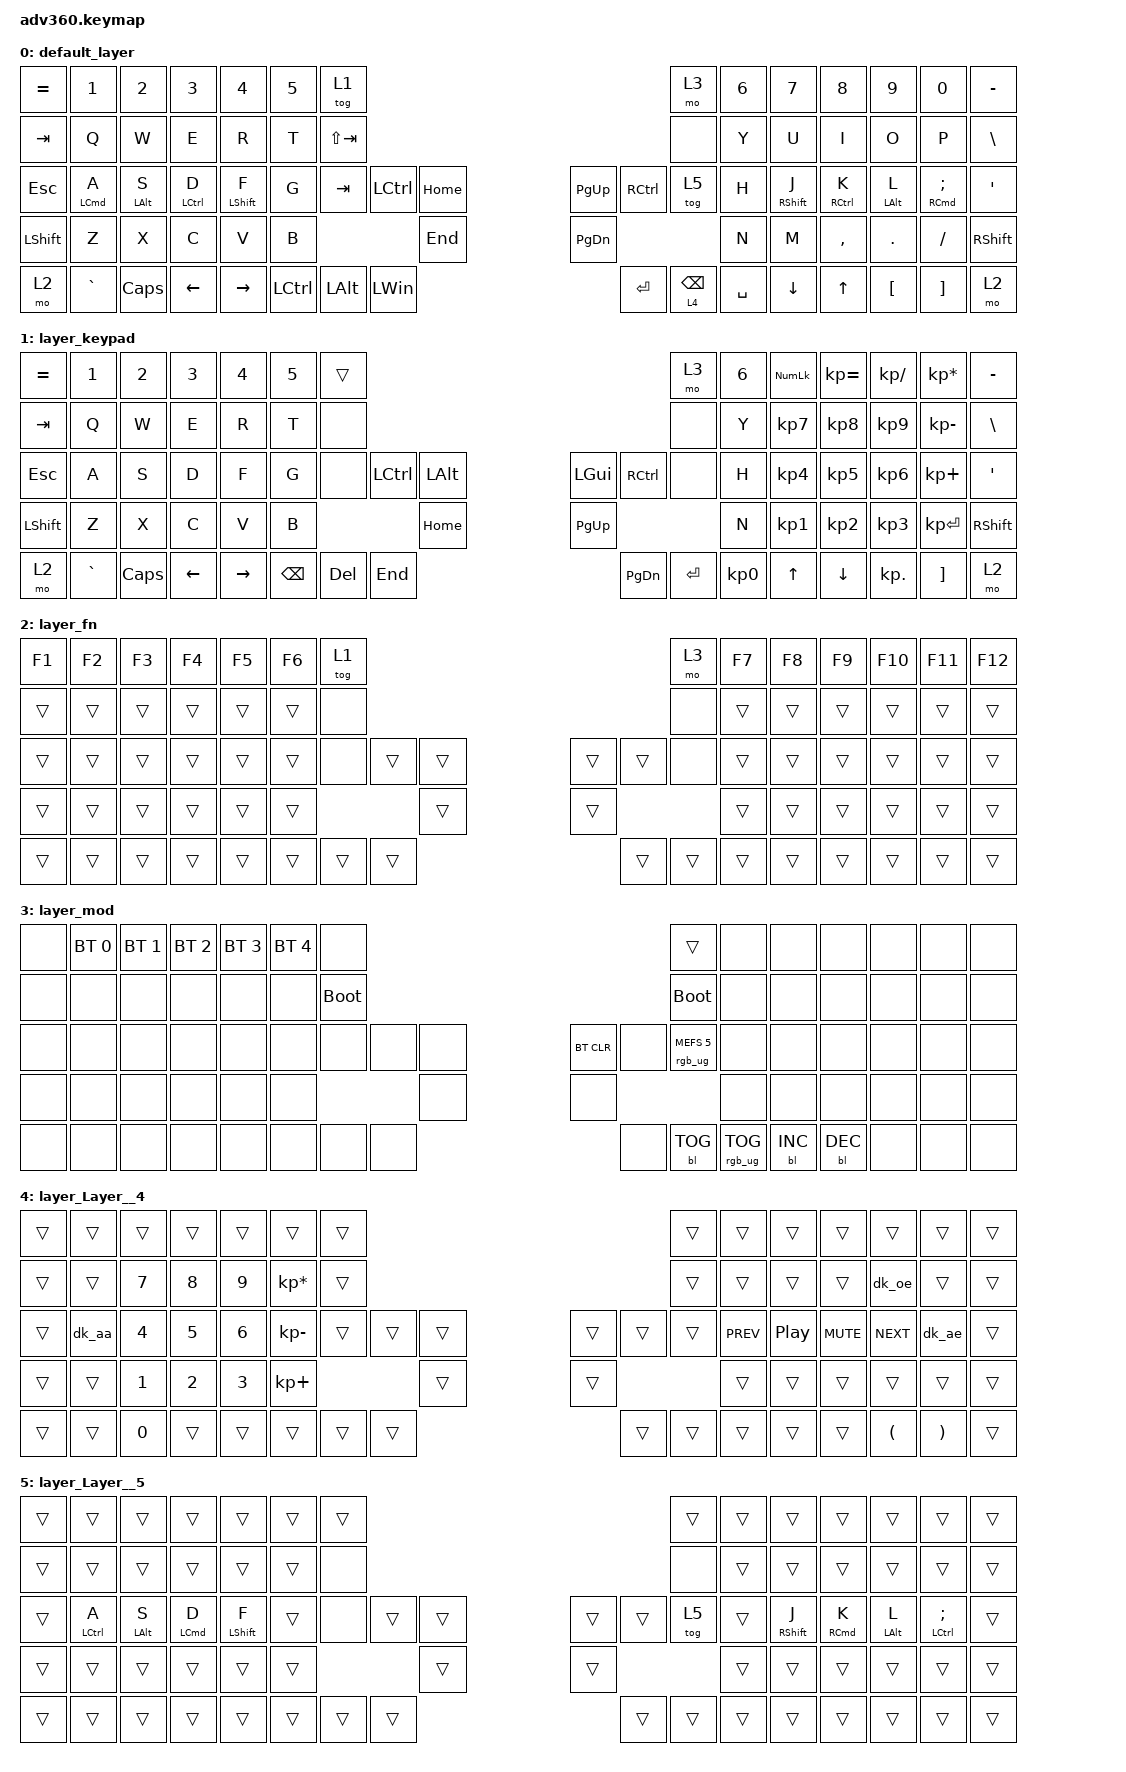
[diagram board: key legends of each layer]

/*
 * Copyright (c) 2020 The ZMK Contributors
 *
 * SPDX-License-Identifier: MIT
 */


/* THIS FILE WAS GENERATED!
 *
 * This file was generated automatically. You may or may not want to
 * edit it directly.
 */

#include <behaviors.dtsi>
#include <dt-bindings/zmk/keys.h>
#include <dt-bindings/zmk/bt.h>
#include <dt-bindings/zmk/rgb.h>
#include <dt-bindings/zmk/backlight.h>
#define HOST_OS 1 // 1 is linux. This is used to specify how the dk_ae, dk_oe, dk_aa macros should be interpreted.
#include "./zmk-nodefree-config/helper.h"
#include "./zmk-nodefree-config/international_chars/danish.dtsi"



/*     ADVANTAGE 360 PRO LAYOUT V3
 ╭────────────────────────────┬────────────────────────────╮
 │  0   1   2   3   4   5   6 │  7   8   9  10  11  12  13 │
 │ 14  15  16  17  18  19  20 │ 21  22  23  24  25  26  27 │
 │ 28  29  30  31  32  33  34 │ 39  40  41  42  43  44  45 │
 │ 46  47  48  49  50  51 ╭───┴───╮ 54  56  57  58  59  60 │
 │ 61  62  63  64  65╭────╯       ╰────╮72  73  74  75  76 │
 ╰───────────────────┼────────┬────────┼───────────────────╯
                 ╭───╯ 35  36 │ 37  38 ╰───╮
                 │         52 │ 53         │
                 │ 66  67  68 │ 69  70  71 │
                 ╰────────────┴────────────╯*/



#define KEYS_LEFT  0  1  2  3  4  5  6 \
                  14 15 16 17 18 19 20 \
                  28 29 30 31 32 33 34 \
                  46 47 48 49 50 51 \
                  61 62 63 64 65

#define KEYS_RIGHT  7  8  9 10 11 12 13 \
                   21 22 23 24 25 26 27 \
                   39 40 41 42 43 44 45 \
                      54 56 57 58 59 60 \
                         72 73 74 75 76

#define THUMBS_LEFT    35 36 \
                          52 \
                    66 67 68

#define THUMBS_RIGHT 37 38 \
                     53 \
                     69 70 71

#define THUMBS THUMBS_LEFT THUMBS_RIGHT

/ {
    combos {
        compatible = "zmk,combos";
        
        //undo, copy, cut, paste, and redo commands
        combo_undo {
            timeout-ms = <50>;
            key-positions = <47 48>; // Z+X
            bindings = <&kp LC(Z)>;
            layers = <0>;
        };
        combo_cut {
            timeout-ms = <50>;
            key-positions = <47 49>; // Z+C
            bindings = <&kp LC(X)>;
            layers = <0>;
        }; 
        combo_copy {
            timeout-ms = <50>;
            key-positions = <48 49>; // X+C
            bindings = <&kp LC(C)>;
            layers = <0>;
        };        
        combo_paste {
            timeout-ms = <50>;
            key-positions = <49 50>; // C+V
            bindings = <&kp LC(V)>;
            layers = <0>;
        };
        combo_redo {
            timeout-ms = <50>;
            key-positions = <47 50>; // Z+V
            bindings = <&kp LC(LS(Z))>;
            layers = <0>;
        };


        // MAC version, enabled by toggling layer 5
        combo_mac_undo {
            timeout-ms = <50>;
            key-positions = <47 48>; // Z+X
            bindings = <&kp LCMD(Z)>;
            layers = <5>;
        };
        combo_mac_cut {
            timeout-ms = <50>;
            key-positions = <47 49>; // Z+C
            bindings = <&kp LCMD(X)>;
            layers = <5>;
        };
        combo_mac_copy {
            timeout-ms = <50>;
            key-positions = <48 49>; // X+C
            bindings = <&kp LCMD(C)>;
            layers = <5>;
        };
        combo_mac_paste {
            timeout-ms = <50>;
            key-positions = <49 50>; // C+V
            bindings = <&kp LCMD(V)>;
            layers = <5>;
        };
        combo_mac_redo {
            timeout-ms = <50>;
            key-positions = <47 50>; // Z+V
            bindings = <&kp LCMD(LS(Z))>;
            layers = <5>;
        };
    };
};


/ {
  behaviors {
    #include "macros.dtsi"

    hm: homerow_mods {
        compatible = "zmk,behavior-hold-tap";
        label = "HOMEROW_MODS";
        #binding-cells = <2>;
        tapping-term-ms = <250>;
        quick_tap_ms = <150>;
        flavor = "balanced";
        bindings = <&kp>, <&kp>;
    };

    hm_l: homerow_mods_left {
        compatible = "zmk,behavior-hold-tap";
        label = "HOMEROW_MODS_LEFT";
        #binding-cells = <2>;
        tapping-term-ms = <250>;
        quick_tap_ms = <150>;
        flavor = "balanced";
        bindings = <&kp>, <&kp>;
        hold-trigger-key-positions = <KEYS_RIGHT THUMBS>;
        hold-trigger-on-release;
        global-quick-tap;

    };

    hm_r: homerow_mods_right {
        compatible = "zmk,behavior-hold-tap";
        label = "HOMEROW_MODS_RIGHT";
        #binding-cells = <2>;
        tapping-term-ms = <250>;
        quick_tap_ms = <150>;
        flavor = "balanced";
        bindings = <&kp>, <&kp>;
        hold-trigger-key-positions = <KEYS_LEFT THUMBS>;
        hold-trigger-on-release;
        global-quick-tap;

    };
  };

// Home row mods 
#define _A_CMD &hm_l LCMD A  // CMD/WIN on pinky fingers
#define _C_CMD &hm_r RCMD SEMICOLON
#define _S_ALT &hm_l LALT S   // ALT/OPT on ring fingers
#define _L_ALT &hm_r LALT L   
#define _D_CTL &hm_l LCTL D   // CTL on middle fingers
#define _K_CTL &hm_r RCTL K
#define _F_SFT &hm_l LSHFT F  // SHIFT on index fingers
#define _J_SFT &hm_r RSHFT J

// Mac version on layer 5 swaps CTRL and CMD (to pinky and middle finger respectively), toggle layer with macro key 4
#define _A_CTL &hm_l LCTL A  // CTL on pinky fingers
#define _C_CTL &hm_r LCTL SEMICOLON
#define _D_CMD &hm_l LCMD D   // CMD on middle fingers
#define _K_CMD &hm_r RCMD K


    keymap {
        compatible = "zmk,keymap";


        default_layer {
            bindings = <
 &kp EQUAL       &kp N1          &kp N2      &kp N3     &kp N4  &kp N5                 &tog 1                                                                              &mo 3  &kp N6    &kp N7      &kp N8      &kp N9       &kp N0  &kp MINUS
   &kp TAB        &kp Q           &kp W       &kp E      &kp R   &kp T            &kp LS(TAB)                                                                              &none   &kp Y     &kp U       &kp I       &kp O        &kp P   &kp BSLH
   &kp ESC       _A_CMD          _S_ALT      _D_CTL     _F_SFT   &kp G                &kp TAB     &kp LCTRL      &kp HOME                  &kp PG_UP        &kp RCTRL      &tog 5  &kp H    _J_SFT      _K_CTL      _L_ALT       _C_CMD    &kp SQT
 &kp LSHFT        &kp Z           &kp X       &kp C      &kp V   &kp B                                            &kp END                  &kp PG_DN                               &kp N     &kp M   &kp COMMA     &kp DOT     &kp FSLH  &kp RSHFT
     &mo 2    &kp GRAVE        &kp CAPS    &kp LEFT  &kp RIGHT                      &kp LCTRL  &kp LEFT_ALT  &kp LEFT_WIN                  &kp ENTER  &lt 4 BACKSPACE  &kp SPACE          &kp DOWN      &kp UP    &kp LBKT     &kp RBKT      &mo 2
            >;
        };

        layer_keypad {
            bindings = <
 &kp EQUAL     &kp N1    &kp N2    &kp N3     &kp N4  &kp N5              &trans                                                                 &mo 3  &kp N6  &kp KP_NUM  &kp KP_EQUAL  &kp KP_DIVIDE  &kp KP_MULTIPLY  &kp MINUS
   &kp TAB      &kp Q     &kp W     &kp E      &kp R   &kp T               &none                                                                 &none   &kp Y   &kp KP_N7     &kp KP_N8      &kp KP_N9     &kp KP_MINUS   &kp BSLH
   &kp ESC      &kp A     &kp S     &kp D      &kp F   &kp G               &none  &kp LCTRL  &kp LALT                   &kp LGUI  &kp RCTRL      &none   &kp H   &kp KP_N4     &kp KP_N5      &kp KP_N6      &kp KP_PLUS    &kp SQT
 &kp LSHFT      &kp Z     &kp X     &kp C      &kp V   &kp B                                 &kp HOME                  &kp PG_UP                         &kp N   &kp KP_N1     &kp KP_N2      &kp KP_N3     &kp KP_ENTER  &kp RSHFT
     &mo 2  &kp GRAVE  &kp CAPS  &kp LEFT  &kp RIGHT                    &kp BSPC    &kp DEL   &kp END                  &kp PG_DN  &kp ENTER  &kp KP_N0              &kp UP      &kp DOWN     &kp KP_DOT         &kp RBKT      &mo 2
            >;
        };

        layer_fn {
            bindings = <
 &kp F1  &kp F2  &kp F3  &kp F4  &kp F5  &kp F6            &tog 1                                                   &mo 3  &kp F7  &kp F8  &kp F9  &kp F10  &kp F11  &kp F12
 &trans  &trans  &trans  &trans  &trans  &trans             &none                                                   &none  &trans  &trans  &trans   &trans   &trans   &trans
 &trans  &trans  &trans  &trans  &trans  &trans             &none  &trans  &trans                  &trans  &trans   &none  &trans  &trans  &trans   &trans   &trans   &trans
 &trans  &trans  &trans  &trans  &trans  &trans                            &trans                  &trans                  &trans  &trans  &trans   &trans   &trans   &trans
 &trans  &trans  &trans  &trans  &trans                    &trans  &trans  &trans                  &trans  &trans  &trans          &trans  &trans   &trans   &trans   &trans
            >;
        };

        layer_mod {
            bindings = <
  &none  &bt BT_SEL 0  &bt BT_SEL 1  &bt BT_SEL 2  &bt BT_SEL 3  &bt BT_SEL 4                  &none                                                                          &trans   &none       &none       &none   &none   &none   &none
  &none         &none         &none         &none         &none         &none            &bootloader                                                                     &bootloader   &none       &none       &none   &none   &none   &none
  &none         &none         &none         &none         &none         &none                  &none   &none   &none                  &bt BT_CLR       &none  &rgb_ug RGB_MEFS_CMD 5   &none       &none       &none   &none   &none   &none
  &none         &none         &none         &none         &none         &none                                  &none                       &none                                       &none       &none       &none   &none   &none   &none
  &none         &none         &none         &none         &none                                &none   &none   &none                       &none  &bl BL_TOG         &rgb_ug RGB_TOG          &bl BL_INC  &bl BL_DEC   &none   &none   &none
            >;
        };

        layer_Layer__4 {
            bindings = <
 &trans  &trans        &trans  &trans  &trans           &trans            &trans                                                  &trans      &trans            &trans      &trans                &trans                 &trans  &trans
 &trans  &trans        &kp N7  &kp N8  &kp N9  &kp KP_MULTIPLY            &trans                                                  &trans      &trans            &trans      &trans                &dk_oe                 &trans  &trans
 &trans  &dk_aa        &kp N4  &kp N5  &kp N6     &kp KP_MINUS            &trans  &trans  &trans                  &trans  &trans  &trans  &kp C_PREV  &kp C_PLAY_PAUSE  &kp C_MUTE            &kp C_NEXT                 &dk_ae  &trans
 &trans  &trans  &kp NUMBER_1  &kp N2  &kp N3      &kp KP_PLUS                            &trans                  &trans                      &trans            &trans      &trans                &trans                 &trans  &trans
 &trans  &trans  &kp NUMBER_0  &trans  &trans                             &trans  &trans  &trans                  &trans  &trans  &trans                        &trans      &trans  &kp LEFT_PARENTHESIS  &kp RIGHT_PARENTHESIS  &trans
            >;
        };

        layer_Layer__5 {
            bindings = <
 &trans  &trans  &trans  &trans  &trans  &trans            &trans                                                   &trans &trans  &trans  &trans  &trans    &trans   &trans
 &trans  &trans  &trans  &trans  &trans  &trans             &none                                                   &none  &trans  &trans  &trans   &trans   &trans   &trans
 &trans  _A_CTL  _S_ALT  _D_CMD  _F_SFT  &trans             &none  &trans  &trans                  &trans  &trans   &tog 5 &trans  _J_SFT  _K_CMD   _L_ALT   _C_CTL   &trans
 &trans  &trans  &trans  &trans  &trans  &trans                            &trans                  &trans                  &trans  &trans  &trans   &trans   &trans   &trans
 &trans  &trans  &trans  &trans  &trans                    &trans  &trans  &trans                  &trans  &trans  &trans          &trans  &trans   &trans   &trans   &trans
            >;
        };
    };
};
